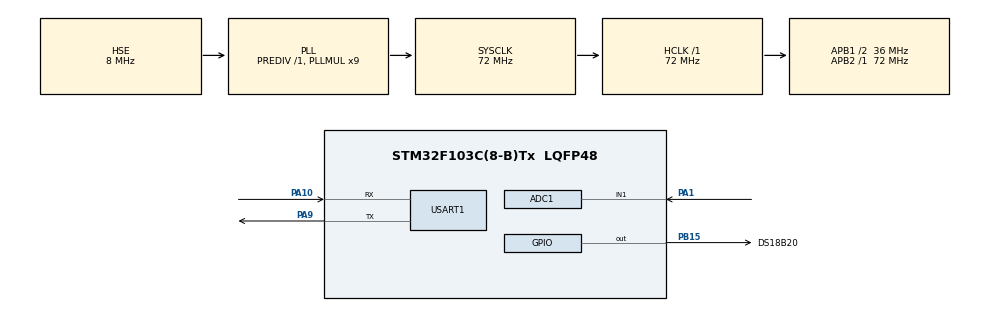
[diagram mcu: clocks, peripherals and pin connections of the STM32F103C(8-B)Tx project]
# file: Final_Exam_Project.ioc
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ADC1.Channel-0\#ChannelRegularConversion=ADC_CHANNEL_1
ADC1.NbrOfConversionFlag=1
ADC1.Rank-0\#ChannelRegularConversion=1
ADC1.SamplingTime-0\#ChannelRegularConversion=ADC_SAMPLETIME_1CYCLE_5
ADC1.master=1
Mcu.Family=STM32F1
Mcu.Name=STM32F103C(8-B)Tx
Mcu.Package=LQFP48
NVIC.PriorityGroup=NVIC_PRIORITYGROUP_4
PA1.Signal=ADCx_IN1
PA10.Mode=Asynchronous
PA10.Signal=USART1_RX
PA13.Mode=Serial_Wire
PA13.Signal=SYS_JTMS-SWDIO
PA14.Mode=Serial_Wire
PA14.Signal=SYS_JTCK-SWCLK
PA9.Mode=Asynchronous
PA9.Signal=USART1_TX
PB15.GPIO_Label=DS18B20
PB15.Signal=GPIO_Output
PD0-OSC_IN.Mode=HSE-External-Oscillator
PD0-OSC_IN.Signal=RCC_OSC_IN
PD1-OSC_OUT.Mode=HSE-External-Oscillator
PD1-OSC_OUT.Signal=RCC_OSC_OUT
ProjectManager.HeapSize=0x200
ProjectManager.StackSize=0x400
ProjectManager.TargetToolchain=MDK-ARM V5
RCC.ADCPresc=RCC_ADCPCLK2_DIV8
RCC.AHBFreq_Value=72000000
RCC.APB1CLKDivider=RCC_HCLK_DIV2
RCC.APB1Freq_Value=36000000
RCC.APB1TimFreq_Value=72000000
RCC.APB2Freq_Value=72000000
RCC.APB2TimFreq_Value=72000000
RCC.HCLKFreq_Value=72000000
RCC.PLLMUL=RCC_PLL_MUL9
RCC.PLLSourceVirtual=RCC_PLLSOURCE_HSE
RCC.SYSCLKFreq_VALUE=72000000
RCC.SYSCLKSource=RCC_SYSCLKSOURCE_PLLCLK
RCC.USBFreq_Value=72000000
SH.ADCx_IN1.0=ADC1_IN1,IN1
TIM4.Prescaler=72-1
USART1.VirtualMode=VM_ASYNC
VP_TIM4_VS_ClockSourceINT.Mode=Internal
board=custom

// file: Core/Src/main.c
/* USER CODE BEGIN Header */
/**
  ******************************************************************************
  * @file           : main.c
  * @brief          : Main program body
  ******************************************************************************
  * @attention
  *
  * <h2><center>&copy; Copyright (c) 2022 STMicroelectronics.
  * All rights reserved.</center></h2>
  *
  * This software component is licensed by ST under BSD 3-Clause license,
  * the "License"; You may not use this file except in compliance with the
  * License. You may obtain a copy of the License at:
  *                        opensource.org/licenses/BSD-3-Clause
  *
  ******************************************************************************
  */
/* USER CODE END Header */
#include "main.h"

/* USER CODE BEGIN Includes */
#include <stdio.h>
#include "DS18B20.h"
/* USER CODE END Includes */

ADC_HandleTypeDef hadc1;

TIM_HandleTypeDef htim4;

UART_HandleTypeDef huart1;

/* USER CODE BEGIN PV */

//Task_Temp Var
DS18B20_Name DS1;
char c_Temp[6] = "";
//Task_Humi Var
uint16_t u16_ADCVal;
char c_Humi[7] = "";
//Task_UART Var
char c_Light[8] = "";
/* USER CODE END PV */

void SystemClock_Config(void);
static void MX_GPIO_Init(void);
static void MX_ADC1_Init(void);
static void MX_TIM4_Init(void);
static void MX_USART1_UART_Init(void);

/* USER CODE BEGIN 0 */
struct __FILE
{
	int handle;
	/* Whatever you require here. If the only file you are using is */
	/* standard output using printf() for debugging, no file handling */
	/* is required. */
};

FILE __stdout;

int fputc(int ch, FILE *f)
{
	HAL_UART_Transmit(&huart1, (uint8_t *)&ch, 1, 0xFFFF);
	return ch;
}

int ferror(FILE *f)
{
	/* Your implementation of ferror(). */
	return 0;
}

void Task_UART(void)
{
	printf("\n@%d: Task_UART Enter!",uwTick);

	char *Data_Buff = "";

	//Transmit Temp Data
	printf("\nTemp: ");
	printf("%s",c_Temp);
	//Transmit Humidity Data
	printf("\nHumi: ");
	printf("%s",c_Humi);
	//Transmit Light Data
	printf("\nLight: ");
	printf("%s",c_Light);

	printf("\n@%d: Task_UART Exit!\n",uwTick);
}

void Task_Temp(void)
{
  printf("\n@%d: Task_Temp Enter!",uwTick);

	float f_Temp;
	f_Temp = DS18B20_ReadTemp(&DS1);
	sprintf(c_Temp,"%2.2f",f_Temp);
	printf("\n@%d: Task_Temp Exit!\n",uwTick);
}

void Task_Humi(void)
{
	printf("\n@%d: Task_Humi Enter!",uwTick);

	float f_Humi;
	HAL_ADC_Start(&hadc1);
	u16_ADCVal = HAL_ADC_GetValue(&hadc1);
	HAL_Delay(50);

	f_Humi = (100.0 - (float)u16_ADCVal/4095*100);
	sprintf(c_Humi,"%2.2f%%",f_Humi);
	HAL_ADC_Stop(&hadc1);
	printf("\n@%d: Task_Humi Exit!\n",uwTick);

}
void Task_Light(void)
{
	printf("\n@%d: Task_Light Enter!",uwTick);

	float Light = 65000;
	sprintf(c_Light,"%2.1f",Light);

	printf("\n@%d: Task_Light Exit!\n",uwTick);

}
/* USER CODE END 0 */

int main(void)
{
  /* USER CODE BEGIN 1 */
	void (*stt_task_point_array[])(void)= {Task_Temp,Task_Light,Task_Humi,Task_UART,
																				 Task_Humi,Task_UART,
																				 Task_Temp,Task_Humi,Task_UART,
																				 Task_Humi,Task_UART,
																				 Task_Temp,Task_Humi,Task_UART,
																				 Task_Humi,Task_UART};
//Debug Mode
//	const uint32_t tk[16] = {0,30,60,120,
//										 660,720,
//										 1200,1260,1320,
//										 1860,1920,
//										 2400,2460,2520,
//										 3060,3120};

	const uint32_t tk[16] = {0,30,60,120,
										 600060,600120,
										 1200000,1200060,1200120,
										 1800060,1800120,
										 2400000,2400060,2400120,
										 3000060,3000120};

	const uint32_t P = 3600;
	const uint8_t n = 16;
  uint32_t i = 0;

  /* USER CODE END 1 */

  /* MCU Configuration--------------------------------------------------------*/

  /* Reset of all peripherals, Initializes the Flash interface and the Systick. */
  HAL_Init();

  /* Configure the system clock */
  SystemClock_Config();

  /* Initialize all configured peripherals */
  MX_GPIO_Init();
  MX_ADC1_Init();
  MX_TIM4_Init();
  MX_USART1_UART_Init();
  /* USER CODE BEGIN 2 */
	DS18B20_Init(&DS1,&htim4,DS18B20_GPIO_Port, DS18B20_Pin);
  /* USER CODE END 2 */

  /* Infinite loop */
  while (1)
  {

    /* USER CODE BEGIN 3 */
		if((uwTick%P) == tk[i%n])
		{
			stt_task_point_array[i%n]();
			i++;
		}
  }
  /* USER CODE END 3 */
}

void SystemClock_Config(void)
{
  RCC_OscInitTypeDef RCC_OscInitStruct = {0};
  RCC_ClkInitTypeDef RCC_ClkInitStruct = {0};
  RCC_PeriphCLKInitTypeDef PeriphClkInit = {0};

  /** Initializes the RCC Oscillators according to the specified parameters
  * in the RCC_OscInitTypeDef structure.
  */
  RCC_OscInitStruct.OscillatorType = RCC_OSCILLATORTYPE_HSE;
  RCC_OscInitStruct.HSEState = RCC_HSE_ON;
  RCC_OscInitStruct.HSEPredivValue = RCC_HSE_PREDIV_DIV1;
  RCC_OscInitStruct.HSIState = RCC_HSI_ON;
  RCC_OscInitStruct.PLL.PLLState = RCC_PLL_ON;
  RCC_OscInitStruct.PLL.PLLSource = RCC_PLLSOURCE_HSE;
  RCC_OscInitStruct.PLL.PLLMUL = RCC_PLL_MUL9;
  if (HAL_RCC_OscConfig(&RCC_OscInitStruct) != HAL_OK)
  {
    Error_Handler();
  }
  /** Initializes the CPU, AHB and APB buses clocks
  */
  RCC_ClkInitStruct.ClockType = RCC_CLOCKTYPE_HCLK|RCC_CLOCKTYPE_SYSCLK
                              |RCC_CLOCKTYPE_PCLK1|RCC_CLOCKTYPE_PCLK2;
  RCC_ClkInitStruct.SYSCLKSource = RCC_SYSCLKSOURCE_PLLCLK;
  RCC_ClkInitStruct.AHBCLKDivider = RCC_SYSCLK_DIV1;
  RCC_ClkInitStruct.APB1CLKDivider = RCC_HCLK_DIV2;
  RCC_ClkInitStruct.APB2CLKDivider = RCC_HCLK_DIV1;

  if (HAL_RCC_ClockConfig(&RCC_ClkInitStruct, FLASH_LATENCY_2) != HAL_OK)
  {
    Error_Handler();
  }
  PeriphClkInit.PeriphClockSelection = RCC_PERIPHCLK_ADC;
  PeriphClkInit.AdcClockSelection = RCC_ADCPCLK2_DIV8;
  if (HAL_RCCEx_PeriphCLKConfig(&PeriphClkInit) != HAL_OK)
  {
    Error_Handler();
  }
}

static void MX_ADC1_Init(void)
{

  ADC_ChannelConfTypeDef sConfig = {0};

  /** Common config
  */
  hadc1.Instance = ADC1;
  hadc1.Init.ScanConvMode = ADC_SCAN_DISABLE;
  hadc1.Init.ContinuousConvMode = DISABLE;
  hadc1.Init.DiscontinuousConvMode = DISABLE;
  hadc1.Init.ExternalTrigConv = ADC_SOFTWARE_START;
  hadc1.Init.DataAlign = ADC_DATAALIGN_RIGHT;
  hadc1.Init.NbrOfConversion = 1;
  if (HAL_ADC_Init(&hadc1) != HAL_OK)
  {
    Error_Handler();
  }
  /** Configure Regular Channel
  */
  sConfig.Channel = ADC_CHANNEL_1;
  sConfig.Rank = ADC_REGULAR_RANK_1;
  sConfig.SamplingTime = ADC_SAMPLETIME_1CYCLE_5;
  if (HAL_ADC_ConfigChannel(&hadc1, &sConfig) != HAL_OK)
  {
    Error_Handler();
  }

}

static void MX_TIM4_Init(void)
{

  TIM_ClockConfigTypeDef sClockSourceConfig = {0};
  TIM_MasterConfigTypeDef sMasterConfig = {0};

  htim4.Instance = TIM4;
  htim4.Init.Prescaler = 72-1;
  htim4.Init.CounterMode = TIM_COUNTERMODE_UP;
  htim4.Init.Period = 65535;
  htim4.Init.ClockDivision = TIM_CLOCKDIVISION_DIV1;
  htim4.Init.AutoReloadPreload = TIM_AUTORELOAD_PRELOAD_DISABLE;
  if (HAL_TIM_Base_Init(&htim4) != HAL_OK)
  {
    Error_Handler();
  }
  sClockSourceConfig.ClockSource = TIM_CLOCKSOURCE_INTERNAL;
  if (HAL_TIM_ConfigClockSource(&htim4, &sClockSourceConfig) != HAL_OK)
  {
    Error_Handler();
  }
  sMasterConfig.MasterOutputTrigger = TIM_TRGO_RESET;
  sMasterConfig.MasterSlaveMode = TIM_MASTERSLAVEMODE_DISABLE;
  if (HAL_TIMEx_MasterConfigSynchronization(&htim4, &sMasterConfig) != HAL_OK)
  {
    Error_Handler();
  }

}

static void MX_USART1_UART_Init(void)
{

  huart1.Instance = USART1;
  huart1.Init.BaudRate = 115200;
  huart1.Init.WordLength = UART_WORDLENGTH_8B;
  huart1.Init.StopBits = UART_STOPBITS_1;
  huart1.Init.Parity = UART_PARITY_NONE;
  huart1.Init.Mode = UART_MODE_TX_RX;
  huart1.Init.HwFlowCtl = UART_HWCONTROL_NONE;
  huart1.Init.OverSampling = UART_OVERSAMPLING_16;
  if (HAL_UART_Init(&huart1) != HAL_OK)
  {
    Error_Handler();
  }

}

static void MX_GPIO_Init(void)
{
  GPIO_InitTypeDef GPIO_InitStruct = {0};

  /* GPIO Ports Clock Enable */
  __HAL_RCC_GPIOD_CLK_ENABLE();
  __HAL_RCC_GPIOA_CLK_ENABLE();
  __HAL_RCC_GPIOB_CLK_ENABLE();

  /*Configure GPIO pin Output Level */
  HAL_GPIO_WritePin(DS18B20_GPIO_Port, DS18B20_Pin, GPIO_PIN_RESET);

  /*Configure GPIO pin : DS18B20_Pin */
  GPIO_InitStruct.Pin = DS18B20_Pin;
  GPIO_InitStruct.Mode = GPIO_MODE_OUTPUT_PP;
  GPIO_InitStruct.Pull = GPIO_NOPULL;
  GPIO_InitStruct.Speed = GPIO_SPEED_FREQ_LOW;
  HAL_GPIO_Init(DS18B20_GPIO_Port, &GPIO_InitStruct);

}

void Error_Handler(void)
{
  __disable_irq();
  while (1)
  {
  }
}

/************************ (C) COPYRIGHT STMicroelectronics *****END OF FILE****/
